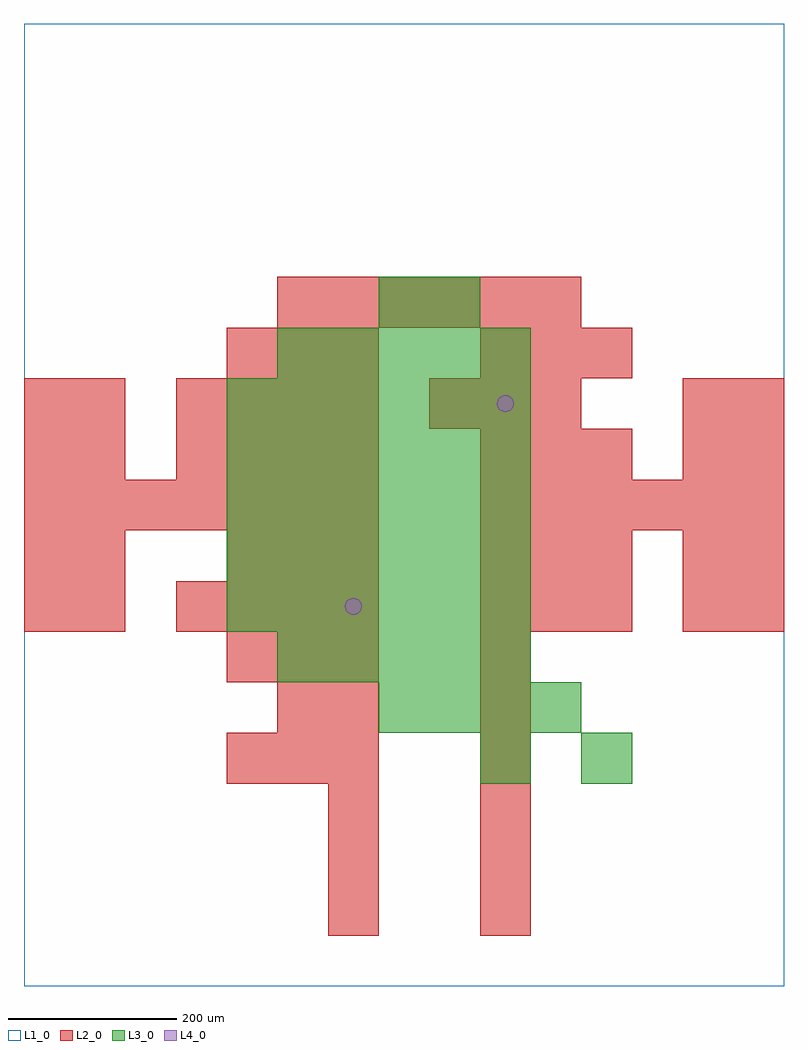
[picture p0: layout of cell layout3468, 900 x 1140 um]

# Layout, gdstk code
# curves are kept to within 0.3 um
import gdstk
lib = gdstk.Library(unit=1e-6, precision=1e-09)
def R(c, l, rs):  # rectangles x0, y0, x1, y1
    for r in rs: c.add(gdstk.rectangle(r[:2], r[2:], *l))
def A(c, l, x, y, w, h, nx, ny, dx, dy):  # array of equal rectangles
    R(c, l, [(x+i*dx, y+j*dy, x+i*dx+w, y+j*dy+h) for i in range(nx) for j in range(ny)])
def P(c, l, *ps):  # polygons
    for p in ps: c.add(gdstk.Polygon(p, *l))
L1_0 = (1, 0)
L2_0 = (2, 0)
L3_0 = (3, 0)
L4_0 = (4, 0)

layout3468 = lib.new_cell('layout3468')
R(layout3468, L1_0, [(0,0,900,1140)])
A(layout3468, L2_0, 360, 60, 60, 60, 1, 3, 0, 60)
A(layout3468, L2_0, 540, 60, 60, 60, 1, 6, 0, 60)
A(layout3468, L2_0, 240, 240, 60, 60, 3, 3, 60, 120)
A(layout3468, L2_0, 180, 420, 60, 60, 4, 2, 60, 180)
A(layout3468, L2_0, 540, 420, 60, 60, 3, 2, 60, 60)
A(layout3468, L2_0, 0, 540, 60, 60, 7, 1, 60, 0)
A(layout3468, L2_0, 540, 540, 60, 60, 6, 1, 60, 0)
A(layout3468, L2_0, 540, 600, 60, 60, 3, 2, 60, 120)
A(layout3468, L2_0, 180, 660, 60, 60, 4, 1, 60, 0)
A(layout3468, L2_0, 480, 660, 60, 60, 3, 1, 60, 0)
A(layout3468, L2_0, 240, 720, 60, 60, 3, 1, 60, 0)
A(layout3468, L2_0, 300, 780, 60, 60, 6, 1, 60, 0)
R(layout3468, L2_0, [(300,300,360,360), (360,300,420,360), (0,420,60,480), (60,420,120,480), (780,420,840,480), (840,420,900,480), (0,480,60,540), (60,480,120,540), (780,480,840,540), (840,480,900,540), (0,600,60,660), (60,600,120,660), (780,600,840,660), (840,600,900,660), (0,660,60,720), (60,660,120,720), (780,660,840,720), (840,660,900,720)])
A(layout3468, L3_0, 420, 300, 60, 60, 4, 1, 60, 0)
A(layout3468, L3_0, 300, 360, 60, 60, 5, 2, 60, 360)
A(layout3468, L3_0, 240, 420, 60, 60, 6, 5, 60, 60)
R(layout3468, L3_0, [(540,240,600,300), (660,240,720,300), (420,780,480,840), (480,780,540,840)])
P(layout3468, L4_0, [(400,450),(399.239,453.827),(397.071,457.071),(393.827,459.239),(390,460),(386.173,459.239),(382.929,457.071),(380.761,453.827),(380,450),(380.761,446.173),(382.929,442.929),(386.173,440.761),(390,440),(393.827,440.761),(397.071,442.929),(399.239,446.173)],
  [(580,690),(579.239,693.827),(577.071,697.071),(573.827,699.239),(570,700),(566.173,699.239),(562.929,697.071),(560.761,693.827),(560,690),(560.761,686.173),(562.929,682.929),(566.173,680.761),(570,680),(573.827,680.761),(577.071,682.929),(579.239,686.173)])

lib.write_gds('layout3468.gds')
